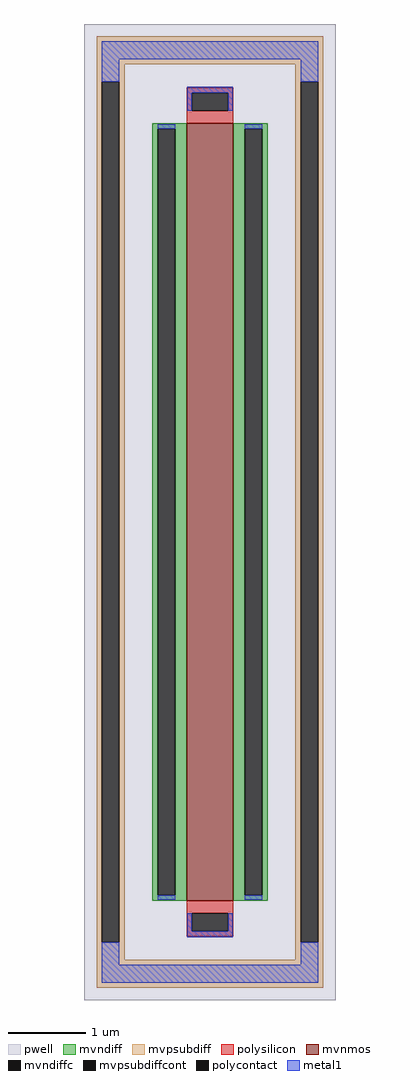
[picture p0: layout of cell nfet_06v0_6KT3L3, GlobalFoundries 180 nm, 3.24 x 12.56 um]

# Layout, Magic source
magic
tech gf180mcuD
magscale 1 10
<< pwell >>
rect -324 -1256 324 1256
<< mvnmos >>
rect -60 -1000 60 1000
<< mvndiff >>
rect -148 987 -60 1000
rect -148 -987 -135 987
rect -89 -987 -60 987
rect -148 -1000 -60 -987
rect 60 987 148 1000
rect 60 -987 89 987
rect 135 -987 148 987
rect 60 -1000 148 -987
<< mvndiffc >>
rect -135 -987 -89 987
rect 89 -987 135 987
<< mvpsubdiff >>
rect -292 1152 292 1224
rect -292 1108 -220 1152
rect -292 -1108 -279 1108
rect -233 -1108 -220 1108
rect 220 1108 292 1152
rect -292 -1152 -220 -1108
rect 220 -1108 233 1108
rect 279 -1108 292 1108
rect 220 -1152 292 -1108
rect -292 -1224 292 -1152
<< mvpsubdiffcont >>
rect -279 -1108 -233 1108
rect 233 -1108 279 1108
<< polysilicon >>
rect -60 1079 60 1092
rect -60 1033 -47 1079
rect 47 1033 60 1079
rect -60 1000 60 1033
rect -60 -1033 60 -1000
rect -60 -1079 -47 -1033
rect 47 -1079 60 -1033
rect -60 -1092 60 -1079
<< polycontact >>
rect -47 1033 47 1079
rect -47 -1079 47 -1033
<< metal1 >>
rect -279 1165 279 1211
rect -279 1108 -233 1165
rect 233 1108 279 1165
rect -58 1079 58 1094
rect -58 1033 -47 1079
rect 47 1033 58 1079
rect -135 987 -89 998
rect -135 -998 -89 -987
rect 89 987 135 998
rect 89 -998 135 -987
rect -58 -1079 -47 -1033
rect 47 -1079 58 -1033
rect -58 -1094 58 -1079
rect -279 -1165 -233 -1108
rect 233 -1165 279 -1108
rect -279 -1211 279 -1165
<< properties >>
string FIXED_BBOX -256 -1188 256 1188
string gencell nfet_06v0
string library gf180mcu
string parameters w 10.0 l 0.6 m 1 nf 1 diffcov 100 polycov 100 guard 1 glc 1 grc 1 gtc 0 gbc 0 tbcov 100 rlcov 100 topc 1 botc 1 poverlap 0 doverlap 1 lmin 0.6 wmin 0.3 class mosfet full_metal 1 compatible {nfet_03v3 nfet_06v0 nfet_06v0_nvt} ad {int((nf+1)/2) * W/nf * 0.18u} as {int((nf+2)/2) * W/nf * 0.18u} pd {2*int((nf+1)/2) * (W/nf + 0.18u)} ps {2*int((nf+2)/2) * (W/nf + 0.18u)} nrd {0.18u / W} nrs {0.18u / W} sa 0 sb 0 sd 0
<< end >>
